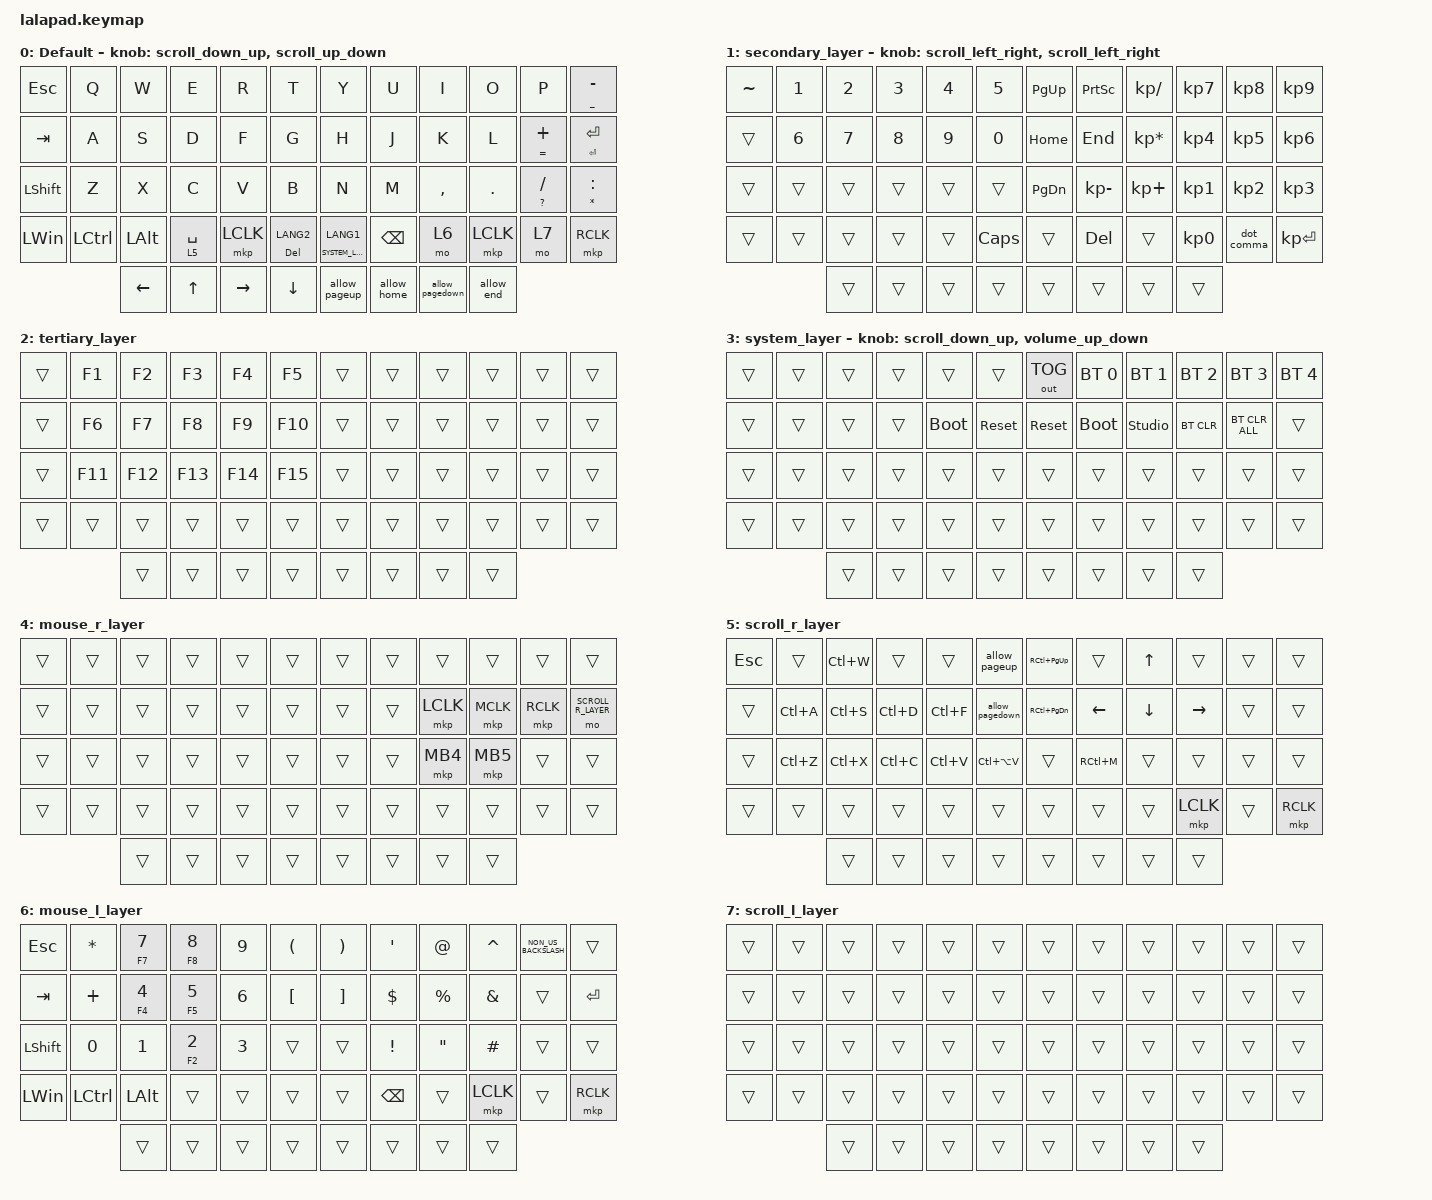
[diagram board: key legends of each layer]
#include <input/processors.dtsi>
#include <behaviors.dtsi>
#include <dt-bindings/zmk/bt.h>
#include <dt-bindings/zmk/keys.h>
#include <dt-bindings/zmk/outputs.h>
#include <dt-bindings/zmk/pointing.h>

#define DEFAULT_LAYER   0
#define SECONDARY_LAYER 1
#define TERTIARY_LAYER  2
#define SYSTEM_LAYER    3
#define MOUSE_R_LAYER   4
#define SCROLL_R_LAYER  5
#define MOUSE_L_LAYER   6
#define SCROLL_L_LAYER  7

// Mouse Scroll Value

#define ZMK_POINTING_DEFAULT_SCRL_VAL 100

// cirque trackpad input&layer control

&glidepoint_listener_R {
    input-processors =
        <&zip_xy_transform (INPUT_TRANSFORM_XY_SWAP | INPUT_TRANSFORM_X_INVERT | INPUT_TRANSFORM_Y_INVERT)>,
        <&zip_xy_scaler 3 2>,
        <&zip_temp_layer MOUSE_R_LAYER 500>;

    lowspeedmode {
        layers = <SECONDARY_LAYER>;
        input-processors =
            <&zip_xy_transform (INPUT_TRANSFORM_XY_SWAP | INPUT_TRANSFORM_X_INVERT | INPUT_TRANSFORM_Y_INVERT)>,
            <&zip_xy_scaler 3 5>,
            <&zip_temp_layer MOUSE_R_LAYER 500>;
    };

    scroller {
        layers = <SCROLL_R_LAYER>;
        input-processors =
            <&zip_xy_to_scroll_mapper>,
            <&zip_scroll_transform (INPUT_TRANSFORM_XY_SWAP | INPUT_TRANSFORM_Y_INVERT)>,
            <&zip_scroll_scaler 1 8>;
    };
};

&glidepoint_listener_L {
    input-processors =
        <&zip_xy_transform (INPUT_TRANSFORM_XY_SWAP | INPUT_TRANSFORM_X_INVERT | INPUT_TRANSFORM_Y_INVERT)>,
        <&zip_xy_scaler 3 2>,
        <&zip_temp_layer MOUSE_L_LAYER 500>;

    lowspeedmode {
        layers = <SECONDARY_LAYER>;
        input-processors =
            <&zip_xy_transform (INPUT_TRANSFORM_XY_SWAP | INPUT_TRANSFORM_X_INVERT | INPUT_TRANSFORM_Y_INVERT)>,
            <&zip_xy_scaler 3 4>,
            <&zip_temp_layer MOUSE_L_LAYER 500>;
    };

    scroller {
        layers = <SCROLL_L_LAYER>;
        input-processors =
            <&zip_xy_to_scroll_mapper>,
            <&zip_scroll_transform (INPUT_TRANSFORM_XY_SWAP | INPUT_TRANSFORM_Y_INVERT)>,
            <&zip_scroll_scaler 1 6>;
    };
};

/ {
    behaviors {
        // Encoder to Mouse Scroll

        scroll_up_down: sensor_scroll_up_down {
            compatible = "zmk,behavior-sensor-rotate";
            #sensor-binding-cells = <0>;
            bindings = <&msc SCRL_UP>, <&msc SCRL_DOWN>;

            tap-ms = <20>;
            label = "SCROLL_UP_DOWN";
        };

        scroll_down_up: sensor_scroll_down_up {
            compatible = "zmk,behavior-sensor-rotate";
            #sensor-binding-cells = <0>;
            bindings = <&msc SCRL_DOWN>, <&msc SCRL_UP>;

            tap-ms = <20>;
            label = "SCROLL_DOWN_UP";
        };

        scroll_left_right: sensor_scroll_left_right {
            compatible = "zmk,behavior-sensor-rotate";
            #sensor-binding-cells = <0>;
            bindings = <&msc SCRL_LEFT>, <&msc SCRL_RIGHT>;

            tap-ms = <20>;
            label = "SCROLL_LEFT_RIGHT";
        };

        scroll_right_left: sensor_scroll_right_left {
            compatible = "zmk,behavior-sensor-rotate";
            #sensor-binding-cells = <0>;
            bindings = <&msc SCRL_RIGHT>, <&msc SCRL_LEFT>;

            tap-ms = <20>;
            label = "SCROLL_RIGHT_LEFT";
        };

        volume_up_down: sensor_volume_up_down {
            compatible = "zmk,behavior-sensor-rotate";
            #sensor-binding-cells = <0>;
            bindings = <&kp C_VOLUME_UP>, <&kp C_VOLUME_DOWN>;

            tap-ms = <20>;
            label = "VOLUME_UP_DOWN";
        };

        dot_comma: dot_comma {
            compatible = "zmk,behavior-mod-morph";
            #binding-cells = <0>;
            bindings = <&kp KP_DOT>, <&kp COMMA>;

            mods = <(MOD_LSFT|MOD_RSFT)>;
            label = "DOT_COMMA";
        };

        pls_minus: pls_minus {
            compatible = "zmk,behavior-mod-morph";
            #binding-cells = <0>;
            bindings = <&kp PLUS>, <&kp MINUS>;

            mods = <(MOD_LSFT|MOD_RSFT)>;
            label = "PLS_MINUS";
        };

        allow_pageup: allow_pageup {
            compatible = "zmk,behavior-mod-morph";
            #binding-cells = <0>;
            bindings = <&kp UP>, <&kp PAGE_UP>;

            mods = <(MOD_LCTL|MOD_RCTL)>;
            label = "ALLOW_PAGEUP";
        };

        allow_pagedown: allow_pagedown {
            compatible = "zmk,behavior-mod-morph";
            #binding-cells = <0>;
            bindings = <&kp DOWN>, <&kp PAGE_DOWN>;

            mods = <(MOD_LCTL|MOD_RCTL)>;
            label = "ALLOW_PAGEDOWN";
        };

        allow_home: allow_home {
            compatible = "zmk,behavior-mod-morph";
            #binding-cells = <0>;
            bindings = <&kp LEFT>, <&kp HOME>;

            mods = <(MOD_LCTL|MOD_RCTL)>;
            label = "ALLOW_HOME";
        };

        allow_end: allow_end {
            compatible = "zmk,behavior-mod-morph";
            #binding-cells = <0>;
            bindings = <&kp RIGHT>, <&kp END>;

            mods = <(MOD_LCTL|MOD_RCTL)>;
            label = "ALLOW_END";
        };

        mt2: mod_tap2 {
            compatible = "zmk,behavior-hold-tap";
            #binding-cells = <2>;
            flavor = "tap-preferred";
            tapping-term-ms = <200>;
            quick-tap-ms = <200>;
            require-prior-idle-ms = <125>;
            bindings = <&kp>, <&kp>;
        };
    };

    keymap {
        compatible = "zmk,keymap";

        DEFAULT_LAYER {
            display-name = "Default";
            sensor-bindings = <&scroll_down_up>, <&scroll_up_down>;

            bindings = <
&kp ESC       &kp Q             &kp W           &kp E         &kp R            &kp T             &kp Y                   &kp U          &kp I            &kp O       &kp P               &mt UNDERSCORE MINUS
&kp TAB       &kp A             &kp S           &kp D         &kp F            &kp G             &kp H                   &kp J          &kp K            &kp L       &mt2 EQUAL PLUS     &mt2 ENTER ENTER
&kp LSHFT     &kp Z             &kp X           &kp C         &kp V            &kp B             &kp N                   &kp M          &kp COMMA        &kp PERIOD  &mt QUESTION SLASH  &mt ASTERISK COLON
&kp LEFT_WIN  &kp LEFT_CONTROL  &kp LEFT_ALT    &lt 5 SPACE   &mkp LCLK        &mt DELETE LANG2  &lt SYSTEM_LAYER LANG1  &kp BACKSPACE  &mo 6            &mkp LCLK   &mo 7               &mkp RCLK
                                &kp LEFT_ARROW  &kp UP_ARROW  &kp RIGHT_ARROW  &kp DOWN_ARROW    &allow_pageup           &allow_home    &allow_pagedown  &allow_end
            >;
        };

        SECONDARY_LAYER {
            display-name = "secondary_layer";
            sensor-bindings = <&scroll_left_right>, <&scroll_left_right>;

            bindings = <
&kp TILDE  &kp NUMBER_1  &kp NUMBER_2  &kp NUMBER_3  &kp NUMBER_4  &kp NUMBER_5  &kp PAGE_UP    &kp PRINTSCREEN  &kp KP_SLASH     &kp KP_NUMBER_7  &kp KP_NUMBER_8  &kp KP_NUMBER_9
&trans     &kp NUMBER_6  &kp NUMBER_7  &kp NUMBER_8  &kp NUMBER_9  &kp NUMBER_0  &kp HOME       &kp END          &kp KP_ASTERISK  &kp KP_NUMBER_4  &kp KP_NUMBER_5  &kp KP_NUMBER_6
&trans     &trans        &trans        &trans        &trans        &trans        &kp PAGE_DOWN  &kp KP_MINUS     &kp KP_PLUS      &kp KP_NUMBER_1  &kp KP_NUMBER_2  &kp KP_NUMBER_3
&trans     &trans        &trans        &trans        &trans        &kp CAPS      &trans         &kp DELETE       &trans           &kp KP_NUMBER_0  &dot_comma       &kp KP_ENTER
                         &trans        &trans        &trans        &trans        &trans         &trans           &trans           &trans
            >;
        };

        TERTIARY_LAYER {
            display-name = "tertiary_layer";
            bindings = <
&trans  &kp F1   &kp F2   &kp F3   &kp F4   &kp F5   &trans  &trans  &trans  &trans  &trans  &trans
&trans  &kp F6   &kp F7   &kp F8   &kp F9   &kp F10  &trans  &trans  &trans  &trans  &trans  &trans
&trans  &kp F11  &kp F12  &kp F13  &kp F14  &kp F15  &trans  &trans  &trans  &trans  &trans  &trans
&trans  &trans   &trans   &trans   &trans   &trans   &trans  &trans  &trans  &trans  &trans  &trans
                 &trans   &trans   &trans   &trans   &trans  &trans  &trans  &trans
            >;
        };

        SYSTEM_LAYER {
            display-name = "system_layer";
            sensor-bindings = <&scroll_down_up>, <&volume_up_down>;

            bindings = <
&trans  &trans  &trans  &trans  &trans       &trans      &out OUT_TOG  &bt BT_SEL 0  &bt BT_SEL 1    &bt BT_SEL 2  &bt BT_SEL 3    &bt BT_SEL 4
&trans  &trans  &trans  &trans  &bootloader  &sys_reset  &sys_reset    &bootloader   &studio_unlock  &bt BT_CLR    &bt BT_CLR_ALL  &trans
&trans  &trans  &trans  &trans  &trans       &trans      &trans        &trans        &trans          &trans        &trans          &trans
&trans  &trans  &trans  &trans  &trans       &trans      &trans        &trans        &trans          &trans        &trans          &trans
                &trans  &trans  &trans       &trans      &trans        &trans        &trans          &trans
            >;
        };

        MOUSE_R_LAYER {
            display-name = "mouse_r_layer";
            bindings = <
&trans  &trans  &trans  &trans  &trans  &trans  &trans  &trans  &trans     &trans     &trans     &trans
&trans  &trans  &trans  &trans  &trans  &trans  &trans  &trans  &mkp LCLK  &mkp MCLK  &mkp RCLK  &mo SCROLL_R_LAYER
&trans  &trans  &trans  &trans  &trans  &trans  &trans  &trans  &mkp MB4   &mkp MB5   &trans     &trans
&trans  &trans  &trans  &trans  &trans  &trans  &trans  &trans  &trans     &trans     &trans     &trans
                &trans  &trans  &trans  &trans  &trans  &trans  &trans     &trans
            >;
        };

        SCROLL_R_LAYER {
            display-name = "scroll_r_layer";
            bindings = <
&kp ESCAPE  &trans     &kp LC(W)  &trans     &trans     &allow_pageup    &kp RC(PAGE_UP)    &trans          &kp UP_ARROW    &trans           &trans  &trans
&trans      &kp LC(A)  &kp LC(S)  &kp LC(D)  &kp LC(F)  &allow_pagedown  &kp RC(PAGE_DOWN)  &kp LEFT_ARROW  &kp DOWN_ARROW  &kp RIGHT_ARROW  &trans  &trans
&trans      &kp LC(Z)  &kp LC(X)  &kp LC(C)  &kp LC(V)  &kp LC(LA(V))    &trans             &kp RC(M)       &trans          &trans           &trans  &trans
&trans      &trans     &trans     &trans     &trans     &trans           &trans             &trans          &trans          &mkp LCLK        &trans  &mkp RCLK
                       &trans     &trans     &trans     &trans           &trans             &trans          &trans          &trans
            >;
        };

        MOUSE_L_LAYER {
            display-name = "mouse_l_layer";
            bindings = <
&kp ESCAPE      &kp ASTERISK      &mt F7 NUMBER_7  &mt F8 NUMBER_8   &kp NUMBER_9  &kp LEFT_PARENTHESIS  &kp RIGHT_PARENTHESIS  &kp SQT          &kp AT_SIGN        &kp CARET      &kp NON_US_BACKSLASH  &trans
&kp TAB         &kp PLUS          &mt F4 NUMBER_4  &mt F5 NUMBER_5   &kp NUMBER_6  &kp LEFT_BRACKET      &kp RIGHT_BRACKET      &kp DOLLAR       &kp PERCENT        &kp AMPERSAND  &trans                &kp ENTER
&kp LEFT_SHIFT  &kp NUMBER_0      &kp NUMBER_1     &mt2 F2 NUMBER_2  &kp NUMBER_3  &trans                &trans                 &kp EXCLAMATION  &kp DOUBLE_QUOTES  &kp HASH       &trans                &trans
&kp LEFT_WIN    &kp LEFT_CONTROL  &kp LEFT_ALT     &trans            &trans        &trans                &trans                 &kp BACKSPACE    &trans             &mkp LCLK      &trans                &mkp RCLK
                                  &trans           &trans            &trans        &trans                &trans                 &trans           &trans             &trans
            >;
        };

        SCROLL_L_LAYER {
            display-name = "scroll_l_layer";
            bindings = <
&trans  &trans  &trans  &trans  &trans  &trans  &trans  &trans  &trans  &trans  &trans  &trans
&trans  &trans  &trans  &trans  &trans  &trans  &trans  &trans  &trans  &trans  &trans  &trans
&trans  &trans  &trans  &trans  &trans  &trans  &trans  &trans  &trans  &trans  &trans  &trans
&trans  &trans  &trans  &trans  &trans  &trans  &trans  &trans  &trans  &trans  &trans  &trans
                &trans  &trans  &trans  &trans  &trans  &trans  &trans  &trans
            >;
        };
    };
};
